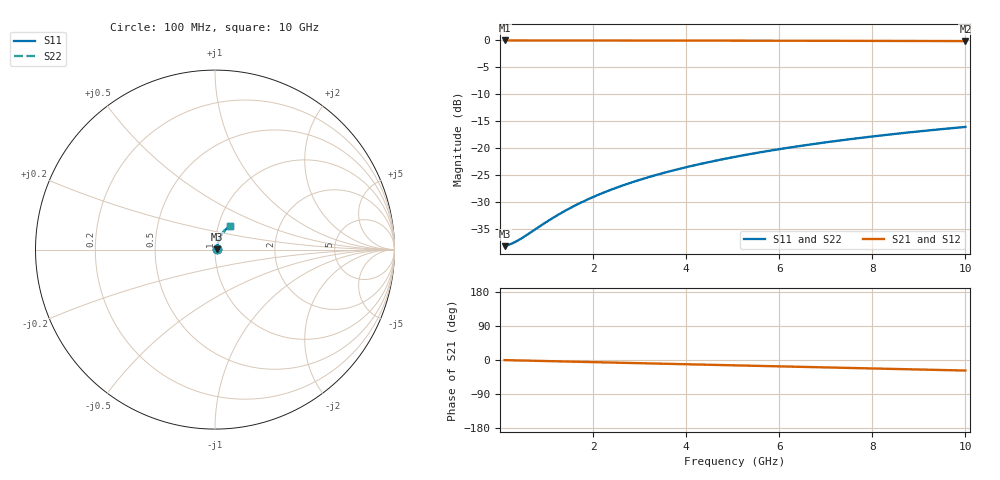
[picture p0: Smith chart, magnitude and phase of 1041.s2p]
# Hz S RI R 50.00
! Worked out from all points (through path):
!   100 points, 100 MHz to 10 GHz, reference 50 ohm
!   highest |S21| = -0.11 dB at 100 MHz (marker M1); lowest = -0.2 dB at 10 GHz (marker M2)
!   group delay of S21, straight-line fit = 7.73 ps
!   lowest |S11| = -38.2 dB at 100 MHz (marker M3), VSWR 1.02, Z = 51.2 + j0.162 ohm
!   |S11| at or under -10 dB: start of sweep to end of sweep
!   |S22| runs from -38.2 to -16.1 dB; largest |S21 - S12| = 0
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1e8  0.0122 0.00158  0.9878 -0.00483  0.9878 -0.00483  0.0122 0.00158
2e8  0.0123 0.00315  0.9877 -0.00967  0.9877 -0.00967  0.0123 0.00315
3e8  0.0124 0.00473  0.9876 -0.0145  0.9876 -0.0145  0.0124 0.00473
4e8  0.0125 0.0063  0.9874 -0.0193  0.9874 -0.0193  0.0125 0.0063
6e8  0.0127 0.00944  0.9871 -0.029  0.9871 -0.029  0.0127 0.00944
1e9  0.0133 0.0157  0.9861 -0.0483  0.9861 -0.0483  0.0133 0.0157
1.2e9  0.0137 0.0188  0.9855 -0.0579  0.9855 -0.0579  0.0137 0.0188
1.5e9  0.0144 0.0235  0.9844 -0.0724  0.9844 -0.0724  0.0144 0.0235
1.8e9  0.0152 0.0282  0.983 -0.0868  0.983 -0.0868  0.0152 0.0282
2.1e9  0.0162 0.0328  0.9814 -0.1011  0.9814 -0.1011  0.0162 0.0328
2.5e9  0.0176 0.0389  0.979 -0.1203  0.979 -0.1203  0.0176 0.0389
2.9e9  0.0193 0.0449  0.9761 -0.1393  0.9761 -0.1393  0.0193 0.0449
3.4e9  0.0218 0.0524  0.9719 -0.163  0.9719 -0.163  0.0218 0.0524
3.8e9  0.024 0.0583  0.9682 -0.1819  0.9682 -0.1819  0.024 0.0583
4.2e9  0.0264 0.064  0.964 -0.2006  0.964 -0.2006  0.0264 0.064
4.6e9  0.0291 0.0697  0.9594 -0.2192  0.9594 -0.2192  0.0291 0.0697
5.1e9  0.0328 0.0766  0.9532 -0.2423  0.9532 -0.2423  0.0328 0.0766
5.9e9  0.0393 0.0873  0.9419 -0.2788  0.9419 -0.2788  0.0393 0.0873
6.7e9  0.0466 0.0974  0.9292 -0.3147  0.9292 -0.3147  0.0466 0.0974
7.5e9  0.0546 0.1068  0.915 -0.3499  0.915 -0.3499  0.0546 0.1068
8.4e9  0.0645 0.1167  0.8974 -0.3886  0.8974 -0.3886  0.0645 0.1167
1e10  0.0839 0.1318  0.862 -0.4546  0.862 -0.4546  0.0839 0.1318
